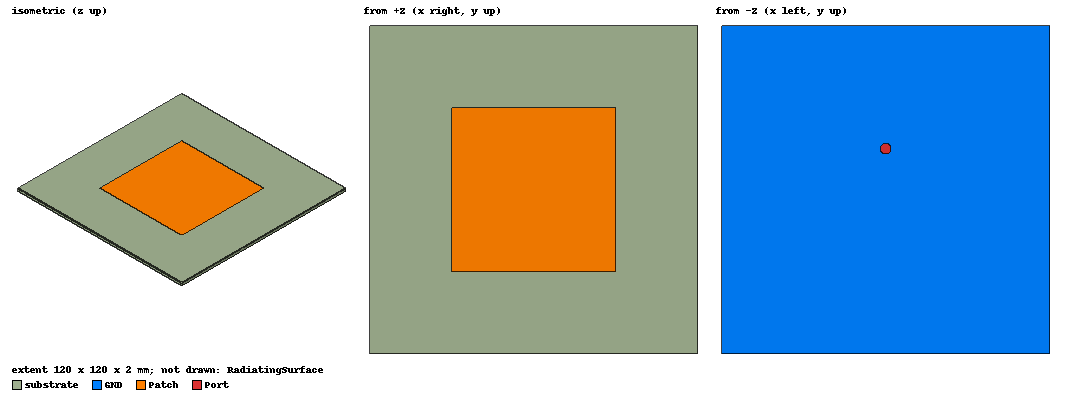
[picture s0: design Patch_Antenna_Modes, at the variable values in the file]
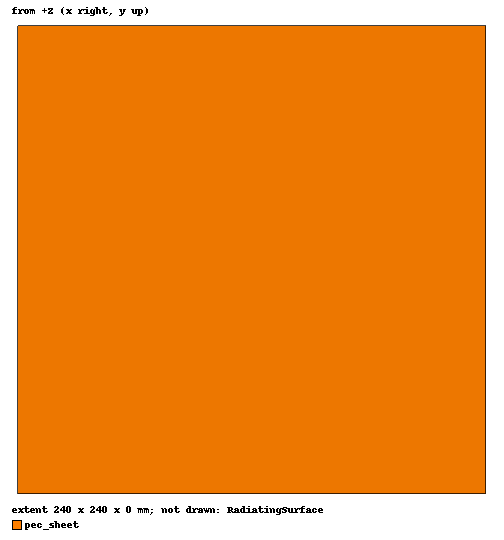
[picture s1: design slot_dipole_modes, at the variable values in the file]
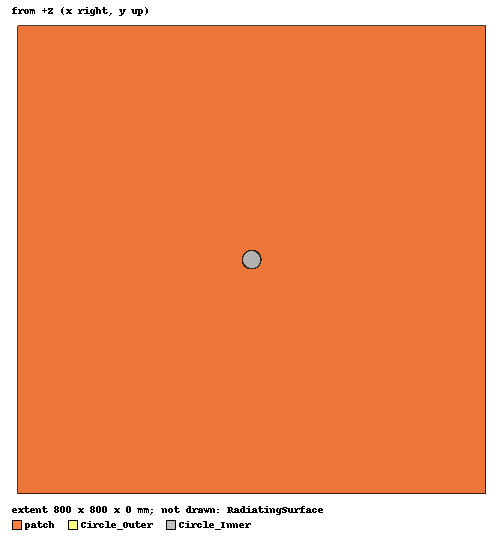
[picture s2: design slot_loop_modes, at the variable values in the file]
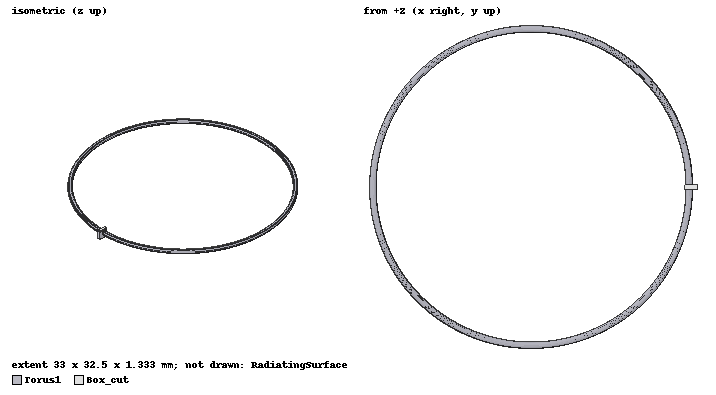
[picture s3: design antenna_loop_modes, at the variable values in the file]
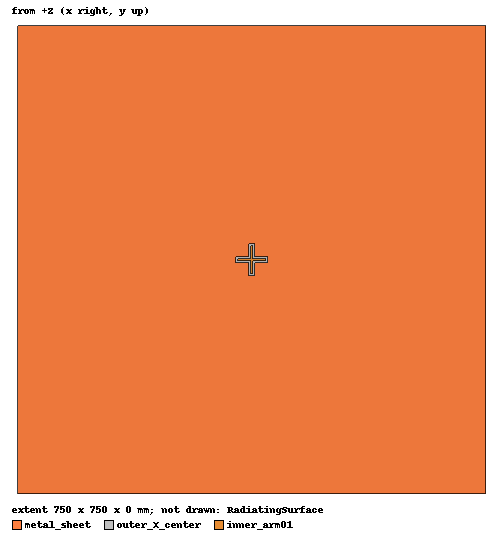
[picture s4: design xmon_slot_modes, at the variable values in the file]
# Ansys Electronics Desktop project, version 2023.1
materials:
  vacuum: permittivity=1
  Rogers RT/duroid 5880 (tm): permittivity=2.2 dielectric_loss_tangent=0.0009
  copper: permeability=0.999991 conductivity=58000000
  silicon: permittivity=11.9
  PMLGroup1_Z_1: permittivity{anisotropic component1=12.707862 component2=12.707862 component3=0.03934572} permeability{anisotropic component1=12.707862 component2=12.707862 component3=0.03934572} dielectric_loss_tangent{anisotropic component1=1 component2=1 component3=-1} magnetic_loss_tangent{anisotropic component1=1 component2=1 component3=-1}
  PMLGroup2_Z_1: permittivity{anisotropic component1=252.03927 component2=252.03927 component3=0.28092844} permeability{anisotropic component1=21.179771 component2=21.179771 component3=0.023607432} dielectric_loss_tangent{anisotropic component1=1 component2=1 component3=-1} magnetic_loss_tangent{anisotropic component1=1 component2=1 component3=-1}
  PMLGroup3_Z_1: permittivity{anisotropic component1=2.9952719 component2=2.9952719 component3=0.16692975} permeability{anisotropic component1=2.9952719 component2=2.9952719 component3=0.16692975} dielectric_loss_tangent{anisotropic component1=1 component2=1 component3=-1} magnetic_loss_tangent{anisotropic component1=1 component2=1 component3=-1}
  PMLGroup3_YZ_1: permittivity{anisotropic component1=0.01 component2=1 component3=1} permeability{anisotropic component1=0.01 component2=1 component3=1} dielectric_loss_tangent{anisotropic component1=1794.3307 component2=0 component3=0} magnetic_loss_tangent{anisotropic component1=1794.3307 component2=0 component3=0}
  PMLGroup4_Z_1: permittivity{anisotropic component1=2.6318845 component2=2.6318845 component3=0.18997794} permeability{anisotropic component1=2.6318845 component2=2.6318845 component3=0.18997794} dielectric_loss_tangent{anisotropic component1=1 component2=1 component3=-1} magnetic_loss_tangent{anisotropic component1=1 component2=1 component3=-1}
  PMLGroup4_XZ_1: permittivity{anisotropic component1=1 component2=0.01 component3=1} permeability{anisotropic component1=1 component2=0.01 component3=1} dielectric_loss_tangent{anisotropic component1=0 component2=1385.3632 component3=0} magnetic_loss_tangent{anisotropic component1=0 component2=1385.3632 component3=0}
  PMLGroup4_YZ_1: permittivity{anisotropic component1=0.01 component2=1 component3=1} permeability{anisotropic component1=0.01 component2=1 component3=1} dielectric_loss_tangent{anisotropic component1=1385.3632 component2=0 component3=0} magnetic_loss_tangent{anisotropic component1=1385.3632 component2=0 component3=0}
  PMLGroup4_XYZ_1: permittivity{anisotropic component1=2.6318845 component2=2.6318845 component3=2.6318845} permeability{anisotropic component1=2.6318845 component2=2.6318845 component3=2.6318845} dielectric_loss_tangent{anisotropic component1=1 component2=1 component3=1} magnetic_loss_tangent{anisotropic component1=1 component2=1 component3=1}
  PMLGroup5_Z_1: permittivity{anisotropic component1=32.916817 component2=32.916817 component3=2.1510281} permeability{anisotropic component1=2.7661191 component2=2.7661191 component3=0.18075867} dielectric_loss_tangent{anisotropic component1=1 component2=1 component3=-1} magnetic_loss_tangent{anisotropic component1=1 component2=1 component3=-1}
  PMLGroup5_YZ_1: permittivity{anisotropic component1=0.01 component2=141.61 component3=141.61} permeability{anisotropic component1=0.01 component2=1 component3=1} dielectric_loss_tangent{anisotropic component1=216703.37 component2=0 component3=0} magnetic_loss_tangent{anisotropic component1=1530.283 component2=0 component3=0}
  PMLGroup5_XZ_1: permittivity{anisotropic component1=141.61 component2=0.01 component3=141.61} permeability{anisotropic component1=1 component2=0.01 component3=1} dielectric_loss_tangent{anisotropic component1=0 component2=216703.37 component3=0} magnetic_loss_tangent{anisotropic component1=0 component2=1530.283 component3=0}
  PMLGroup5_XYZ_1: permittivity{anisotropic component1=4661.3505 component2=4661.3505 component3=4661.3505} permeability{anisotropic component1=2.7661191 component2=2.7661191 component3=2.7661191} dielectric_loss_tangent{anisotropic component1=1 component2=1 component3=1} magnetic_loss_tangent{anisotropic component1=1 component2=1 component3=1}
  mu6_eps1_medium: permeability=6
  PMLGroup6_Z_1: permittivity{anisotropic component1=2.2202018 component2=2.2202018 component3=0.22520476} permeability{anisotropic component1=13.321211 component2=13.321211 component3=1.3512285} dielectric_loss_tangent{anisotropic component1=1 component2=1 component3=-1} magnetic_loss_tangent{anisotropic component1=1 component2=1 component3=-1}
  PMLGroup6_XZ_1: permittivity{anisotropic component1=1 component2=0.01 component3=1} permeability{anisotropic component1=36 component2=0.01 component3=36} dielectric_loss_tangent{anisotropic component1=0 component2=985.85918 component3=0} magnetic_loss_tangent{anisotropic component1=0 component2=35490.93 component3=0}
  PMLGroup6_YZ_1: permittivity{anisotropic component1=0.01 component2=1 component3=1} permeability{anisotropic component1=0.01 component2=36 component3=36} dielectric_loss_tangent{anisotropic component1=985.85918 component2=0 component3=0} magnetic_loss_tangent{anisotropic component1=35490.93 component2=0 component3=0}
  PMLGroup7_Z_1: permittivity{anisotropic component1=2.2202018 component2=2.2202018 component3=0.22520476} permeability{anisotropic component1=13.321211 component2=13.321211 component3=1.3512285} dielectric_loss_tangent{anisotropic component1=1 component2=1 component3=-1} magnetic_loss_tangent{anisotropic component1=1 component2=1 component3=-1}
  PMLGroup7_XZ_1: permittivity{anisotropic component1=1 component2=0.01 component3=1} permeability{anisotropic component1=36 component2=0.01 component3=36} dielectric_loss_tangent{anisotropic component1=0 component2=985.85918 component3=0} magnetic_loss_tangent{anisotropic component1=0 component2=35490.93 component3=0}
  PMLGroup7_YZ_1: permittivity{anisotropic component1=0.01 component2=1 component3=1} permeability{anisotropic component1=0.01 component2=36 component3=36} dielectric_loss_tangent{anisotropic component1=985.85918 component2=0 component3=0} magnetic_loss_tangent{anisotropic component1=35490.93 component2=0 component3=0}
  PMLGroup7_XYZ_1: permittivity{anisotropic component1=2.2202018 component2=2.2202018 component3=2.2202018} permeability{anisotropic component1=479.56358 component2=479.56358 component3=479.56358} dielectric_loss_tangent{anisotropic component1=1 component2=1 component3=1} magnetic_loss_tangent{anisotropic component1=1 component2=1 component3=1}
  PMLGroup8_Z_1: permittivity{anisotropic component1=1.1 component2=1.1 component3=0.45454545} permeability{anisotropic component1=6.6 component2=6.6 component3=2.7272727} dielectric_loss_tangent{anisotropic component1=1 component2=1 component3=-1} magnetic_loss_tangent{anisotropic component1=1 component2=1 component3=-1}
  PMLGroup8_XZ_1: permittivity{anisotropic component1=1 component2=0.01 component3=1} permeability{anisotropic component1=36 component2=0.01 component3=36} dielectric_loss_tangent{anisotropic component1=0 component2=242 component3=0} magnetic_loss_tangent{anisotropic component1=0 component2=8712 component3=0}
  PMLGroup8_YZ_1: permittivity{anisotropic component1=0.01 component2=1 component3=1} permeability{anisotropic component1=0.01 component2=36 component3=36} dielectric_loss_tangent{anisotropic component1=242 component2=0 component3=0} magnetic_loss_tangent{anisotropic component1=8712 component2=0 component3=0}
  PMLGroup8_XYZ_1: permittivity{anisotropic component1=1.1 component2=1.1 component3=1.1} permeability{anisotropic component1=237.6 component2=237.6 component3=237.6} dielectric_loss_tangent{anisotropic component1=1 component2=1 component3=1} magnetic_loss_tangent{anisotropic component1=1 component2=1 component3=1}
  pec: conductivity=1e+30
  PMLGroup1_Z_2: permittivity{anisotropic component1=157.04063 component2=157.04063 component3=0.0031838895} permeability{anisotropic component1=157.04063 component2=157.04063 component3=0.0031838895} dielectric_loss_tangent{anisotropic component1=1 component2=1 component3=-1} magnetic_loss_tangent{anisotropic component1=1 component2=1 component3=-1}
  PMLGroup1_Z_3: permittivity{anisotropic component1=1.4717352 component2=1.4717352 component3=0.33973504} permeability{anisotropic component1=1.4717352 component2=1.4717352 component3=0.33973504} dielectric_loss_tangent{anisotropic component1=1 component2=1 component3=-1} magnetic_loss_tangent{anisotropic component1=1 component2=1 component3=-1}
  PMLGroup1_XZ_3: permittivity{anisotropic component1=1 component2=0.01 component3=1} permeability{anisotropic component1=1 component2=0.01 component3=1} dielectric_loss_tangent{anisotropic component1=0 component2=433.20088 component3=0} magnetic_loss_tangent{anisotropic component1=0 component2=433.20088 component3=0}
  PMLGroup1_YZ_3: permittivity{anisotropic component1=0.01 component2=1 component3=1} permeability{anisotropic component1=0.01 component2=1 component3=1} dielectric_loss_tangent{anisotropic component1=433.20088 component2=0 component3=0} magnetic_loss_tangent{anisotropic component1=433.20088 component2=0 component3=0}
  PMLGroup1_XYZ_3: permittivity{anisotropic component1=1.4717352 component2=1.4717352 component3=1.4717352} permeability{anisotropic component1=1.4717352 component2=1.4717352 component3=1.4717352} dielectric_loss_tangent{anisotropic component1=1 component2=1 component3=1} magnetic_loss_tangent{anisotropic component1=1 component2=1 component3=1}

design Patch_Antenna_Modes (HFSS, HFSS Modal Network, model units mm)
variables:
  Wg = 120mm
  h = 2mm
  W = 60mm
  Xf = 0mm
  Yf = 15mm
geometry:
  substrate [Rogers RT/duroid 5880 (tm)] = box(corner=(-Wg/2, -Wg/2, 0mm), size=(Wg, Wg, h))
  Patch = rectangle(corner=(-W/2, -W/2, h), x_size=W, y_size=W)
  feed [copper] = cylinder(axis=Z, base_centre=(Xf, Yf, 0), radius=0.6mm, height=h)
  GND = rectangle(corner=(-Wg/2, -Wg/2, 0mm), x_size=Wg, y_size=Wg)
  Port = ellipse(normal=Z, centre=(Xf, Yf, 0mm), major_radius=2mm, ratio=1)
  RadiatingSurface [vacuum] = region(absolute_offset: +X=100mm, -X=100mm, +Y=100mm, -Y=100mm, +Z=100mm, -Z=0)
  Port_1 = Port.copy()
  GND.subtract(Port_1)
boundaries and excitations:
  PerfE1: Perfect E Objects=GND
  PerfE2: Perfect E Objects=Patch
  Open1: Radiation Faces=RadiatingSurface.face(+z, -y, -x, +y, +x)
  Open_InfiniteGnd1: Perfect E Faces=RadiatingSurface.face(-z) InfGroundPlane
  1: Lumped Port Objects=Port LumpedPortType=Modal Modes{Mode1{IntLine{(0.0011197962, 15.000776, 0) -> (-600mm, 15000mm, 0mm)} CharImp=Zpi RenormImp=50ohm}} Impedance=50ohm
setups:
  Setup2: HfssDriven MultipleAdaptiveFreqsSetup{Low=1GHz High=6GHz} MaxDeltaS=0.02 MaximumPasses=12 MinimumPasses=1 MinimumConvergedPasses=1 PercentRefinement=30 BasisOrder=1 PortAccuracy=2 DrivenSolverType="Direct Solver"
    sweep Sweep: 1GHz to 6GHz, 501 points; Type=Fast SaveFields
    sweep Sweep1: 1GHz to 6GHz, 501 points; Type=Interpolating InterpTolerance=0.5 InterpMaxSolns=250 InterpUsePortImped=false PassivityErrorTolerance=0.0001
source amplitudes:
  1:1: 1V 0deg
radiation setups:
  3D: Infinite Sphere Theta=0deg..180deg step 2deg Phi=-180deg..180deg step 2deg
  Elevation: Infinite Sphere Theta=-180deg..180deg step 1deg Phi=0deg..90deg step 90deg
  Azimuth: Infinite Sphere Theta=90deg..90deg step 0deg Phi=-180deg..180deg step 1deg
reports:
  Z Parameter Plot 1: re(Z(1,1)), im(Z(1,1)) vs Freq on Setup2 : Sweep
  S Parameter Plot 1: dB(S(1,1)) vs Freq on Setup2 : Sweep

design slot_dipole_modes (HFSS, HFSS Modal Network, model units mm)
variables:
  lambda = 100mm
  dipole_length = 0.48*lambda
  ratio = 200
  dipole_width = dipole_length/ratio
  port_height = 0.24mm
  gap_height = 0.24mm
  patch_ratio = 5
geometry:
  dipole_slot = rectangle(corner=(-dipole_length/2, -dipole_width/2, 0mm), x_size=dipole_length, y_size=dipole_width)
  pec_sheet = rectangle(corner=(-patch_ratio*dipole_length/2, -patch_ratio*dipole_length/2, 0mm), x_size=patch_ratio*dipole_length, y_size=patch_ratio*dipole_length)
  pec_sheet.subtract(dipole_slot)
  port = rectangle(corner=(-gap_height/2, -dipole_width/2, 0mm), x_size=gap_height, y_size=dipole_width)
  RadiatingSurface [vacuum] = region(absolute_offset=33.333333mm on all sides)
  slot [non-model] = rectangle(corner=(-24mm, -0.12mm, 0mm), x_size=48mm, y_size=0.24mm)
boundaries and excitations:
  PerfE1: Perfect E Objects=pec_sheet
  Open1: Radiation Objects=RadiatingSurface
  1: Lumped Port Objects=port LumpedPortType=Modal Modes{Mode1{IntLine{(0, -0.12, 0) -> (0, 0.12, 0)} CharImp=Zpi}} Impedance=485.9ohm
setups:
  Setup1: HfssDriven Frequency=3GHz MaxDeltaS=0.02 MaximumPasses=20 MinimumPasses=1 MinimumConvergedPasses=1 PercentRefinement=30 BasisOrder=1 PortAccuracy=2 DrivenSolverType="Direct Solver"
    sweep Sweep: 2GHz to 20GHz, 401 points; Type=Interpolating SaveFields InterpTolerance=0.5 InterpMaxSolns=250 InterpUsePortImped=false PassivityErrorTolerance=0.0001
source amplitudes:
  1:1: 1W 0deg
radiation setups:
  3D: Infinite Sphere Theta=0deg..180deg step 2deg Phi=-180deg..180deg step 2deg
  Elevation: Infinite Sphere Theta=-180deg..180deg step 1deg Phi=0deg..90deg step 90deg
  Azimuth: Infinite Sphere Theta=90deg..90deg step 0deg Phi=-180deg..180deg step 1deg
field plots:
  Mag_E1: E Field over a plane on Setup1 : LastAdaptive at Freq=3GHz Phase=0deg
  Mag_E2: E Field over pec_sheet.face(at (0, 0, 0)) on Setup1 : LastAdaptive at Freq=3GHz Phase=0deg
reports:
  S Parameter Plot 1: dB(S(1,1)) vs Freq on Setup1 : Sweep; markers m1 at 2.99GHz, m2 at 9.155GHz, m3 at 15.185GHz
  Z Parameter Plot 1: re(Z(1,1)), im(Z(1,1)) vs Freq on Setup1 : Sweep; markers m1 at 2.97457GHz, m2 at 9.155GHz, m3 at 15.275GHz, m5 at 11.45GHz, m4 at 5.555GHz, m6 at 17.525GHz

design slot_loop_modes (HFSS, HFSS Modal Network, model units mm)
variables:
  patch_ratio = 8
  lambda = 100mm
  patch_side = patch_ratio * lambda
  radius_center = lambda/(2*pi)
  ratio_pw = 200
  loop_width = lambda/ratio_pw
  radius_outer = radius_center+loop_width/2
  radius_inner = radius_center-loop_width/2
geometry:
  Circle_Inner = circle(normal=Z, centre=(0mm, 0mm, 0mm), radius=radius_inner)
  port = rectangle(corner=(radius_inner-loop_width/2, -1mm, 0mm), x_size=loop_width*1.75, y_size=2mm)
  patch = rectangle(corner=(-patch_side/2, -patch_side/2, 0mm), x_size=patch_side, y_size=patch_side)
  Circle_Outer = circle(normal=Z, centre=(0mm, 0mm, 0mm), radius=radius_outer)
  Circle_Outer_1 = Circle_Outer.copy()
  patch.subtract(Circle_Outer_1)
  Circle_Inner_1 = Circle_Inner.copy()
  Circle_Outer.subtract(Circle_Inner_1)
  RadiatingSurface [vacuum] = region(absolute_offset=33.333333mm on all sides)
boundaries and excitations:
  PerfE1: Perfect E Objects=Circle_Inner
  PerfE2: Perfect E Objects=patch
  Open1: Radiation Objects=RadiatingSurface
  1: Lumped Port Objects=port LumpedPortType=Modal Modes{Mode1{IntLine{(15.415494, 0, 0) -> (16.290494, 0, 0)} CharImp=Zpi}} Impedance=275ohm
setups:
  Setup1: HfssDriven Frequency=3GHz MaxDeltaS=0.02 MaximumPasses=20 MinimumPasses=1 MinimumConvergedPasses=1 PercentRefinement=30 BasisOrder=1 PortAccuracy=2 DrivenSolverType="Direct Solver"
    sweep Sweep: 2GHz to 5GHz step 0.01GHz; Type=Interpolating InterpTolerance=0.5 InterpMaxSolns=250 InterpUsePortImped=false PassivityErrorTolerance=0.0001
  Setup2: HfssDriven Frequency=3.16GHz MaxDeltaS=0.02 MaximumPasses=12 MinimumPasses=1 MinimumConvergedPasses=1 PercentRefinement=30 BasisOrder=1 PortAccuracy=2 DrivenSolverType="Direct Solver"
    sweep Sweep: 1.58GHz to 20GHz, 401 points; Type=Interpolating InterpTolerance=0.5 InterpMaxSolns=250 InterpUsePortImped=false PassivityErrorTolerance=0.0001
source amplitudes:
  1:1: 1W 0deg
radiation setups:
  3D: Infinite Sphere Theta=0deg..180deg step 2deg Phi=-180deg..180deg step 2deg
  Elevation: Infinite Sphere Theta=-180deg..180deg step 1deg Phi=0deg..90deg step 90deg
  Azimuth: Infinite Sphere Theta=90deg..90deg step 0deg Phi=-180deg..180deg step 1deg
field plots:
  Vector_E1: E Field over Circle_Outer.face(at (0, 0, 0)) on Setup2 : LastAdaptive at Freq=3.16GHz Phase=0deg
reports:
  S Parameter Plot 1: dB(S(1,1)) vs Freq on Setup1 : Sweep; markers m1 at 3.21GHz
  Z Parameter Plot 1: re(Z(1,1)), im(Z(1,1)) vs Freq on Setup1 : Sweep; markers m1 at 3.18GHz, m2 at 3.21GHz, m3 at 4.54GHz, m4 at 4.54GHz
  S Parameter Plot 3: dB(S(1,1)) vs Freq on Setup2 : Sweep; markers m1 at 3.19175GHz, m2 at 6.2771GHz, m3 at 9.3164GHz, m4 at 12.3557GHz, m5 at 15.44105GHz, m6 at 18.48035GHz
  Z Parameter Plot 2: re(Z(1,1)), im(Z(1,1)) vs Freq on Setup2 : Sweep; markers m1 at 3.2134911GHz, m2 at 6.32315GHz, m3 at 6.32315GHz, m4 at 9.36245GHz, m5 at 12.40175GHz, m6 at 15.53315GHz, m7 at 3.19175GHz, m8 at 6.23105GHz, m9 at 9.27035GHz, m10 at 12.3557GHz, m11 at 15.44105GHz, m12 at 18.5264GHz, m13 at 18.4343GHz

design antenna_loop_modes (HFSS, HFSS Modal Network, model units mm)
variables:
  lambda = 100mm
  radius_center = lambda/(2*pi)
  ratio_pw = 300
  loop_width = lambda/ratio_pw
  radius_outer = radius_center+loop_width/2
  radius_inner = radius_center-loop_width/2
  gap = lambda/200
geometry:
  Torus1 [pec] = torus(axis=Z, centre=(0mm, 0mm, 0mm), major_radius=radius_center, minor_radius=loop_width)
  Box_cut [vacuum] = box(corner=(radius_outer-2*loop_width, -gap/2, -2*loop_width), size=(4*loop_width, gap, 4*loop_width))
  Box_cut_1 = Box_cut.copy()
  Torus1.subtract(Box_cut_1)
  lumped_port = rectangle(corner=(radius_center-loop_width, -gap/2-0.05mm, 0mm), x_size=2*loop_width, y_size=gap+0.1mm)
  RadiatingSurface [vacuum] = region(absolute_offset=30.30303mm on all sides)
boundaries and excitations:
  Open1: Radiation Objects=RadiatingSurface
  1: Lumped Port Objects=lumped_port LumpedPortType=Modal Modes{Mode1{IntLine{(15.915494, 0.3, 0) -> (15.915494, -0.3, 0)} CharImp=Zpi}} Impedance=150ohm
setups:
  Setup1: HfssDriven Frequency=3.3GHz MaxDeltaS=0.02 MaximumPasses=20 MinimumPasses=1 MinimumConvergedPasses=1 PercentRefinement=30 BasisOrder=1 PortAccuracy=2 DrivenSolverType="Direct Solver"
    sweep Sweep: 1.5GHz to 5.5GHz, 401 points; Type=Interpolating InterpTolerance=0.5 InterpMaxSolns=250 InterpUsePortImped=false PassivityErrorTolerance=0.0001
  Setup2: HfssDriven MultipleAdaptiveFreqsSetup{AdaptAt{Frequency=3.3GHz Delta=0.02} AdaptAt{Frequency=6.6GHz Delta=0.02} AdaptAt{Frequency=9.9GHz Delta=0.02} AdaptAt{Frequency=13.2GHz Delta=0.02} AdaptAt{Frequency=16.5GHz Delta=0.02} AdaptAt{Frequency=18.5GHz Delta=0.02}} MaximumPasses=20 MinimumPasses=1 MinimumConvergedPasses=1 PercentRefinement=30 BasisOrder=1 PortAccuracy=2 DrivenSolverType="Direct Solver"
    sweep Sweep: 1GHz to 20GHz, 501 points; Type=Interpolating SaveFields InterpTolerance=0.5 InterpMaxSolns=250 InterpUsePortImped=false PassivityErrorTolerance=0.0001
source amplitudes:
  1:1: 1W 0deg
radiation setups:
  3D: Infinite Sphere Theta=0deg..180deg step 2deg Phi=-180deg..180deg step 2deg
  Elevation: Infinite Sphere Theta=-180deg..180deg step 1deg Phi=0deg..90deg step 90deg
  Azimuth: Infinite Sphere Theta=90deg..90deg step 0deg Phi=-180deg..180deg step 1deg
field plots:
  Mag_E1: E Field in RadiatingSurface on Setup2 : Sweep at Freq=3.375GHz Phase=0deg
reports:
  Z Parameter Plot 1: re(Z(1,1)), im(Z(1,1)) vs Freq on Setup1 : Sweep; markers m1 at 3.29GHz, m2 at 3.29GHz
  S Parameter Plot 1: dB(S(1,1)) vs Freq on Setup1 : Sweep; markers m1 at 3.31GHz
  S Parameter Plot 2: dB(S(1,1)) vs Freq on Setup2 : Sweep; markers m1 at 3.28GHz, m2 at 6.396GHz, m3 at 9.512GHz, m4 at 12.59GHz, m5 at 15.668GHz, m6 at 18.708GHz
  Z Parameter Plot 3: re(Z(1,1)), im(Z(1,1)) vs Freq on Setup2 : Sweep; markers m1 at 3.28GHz, m2 at 6.396GHz, m3 at 9.588GHz, m4 at 12.628GHz, m5 at 4.306GHz, m6 at 7.27GHz, m7 at 10.234GHz, m8 at 13.274GHz

design xmon_slot_modes (HFSS, HFSS Modal Network, model units mm)
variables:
  ratio_ws = 1
  ratio_ls = 6.875
  width = 3mm
  gap = ratio_ws*width
  arm_length = ratio_ls*width
  lambda = 100mm
  side_sheet = 7.5*lambda
  port_width = 0.25*width
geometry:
  inner_arm01 = rectangle(corner=(width/2, -width/2, 0mm), x_size=arm_length, y_size=width)
  inner_center = rectangle(corner=(-width/2, -width/2, 0mm), x_size=width, y_size=width)
  inner_arm02, inner_arm03, inner_arm04 = inner_arm01.duplicate_around_axis(axis=Z, angle=90deg, total=4)
  inner_arm01.unite(inner_arm02, inner_arm03, inner_arm04, inner_center)
  outer_X_center = rectangle(corner=(-width/2-gap, -width/2-gap, 0mm), x_size=width+2*gap, y_size=width+2*gap)
  outer_X_arm = rectangle(corner=(width/2+gap, -width/2-gap, 0mm), x_size=arm_length, y_size=2*gap+width)
  outer_X_arm_1, outer_X_arm_2, outer_X_arm_3 = outer_X_arm.duplicate_around_axis(axis=Z, angle=90deg, total=4)
  outer_X_center.unite(outer_X_arm_3, outer_X_arm_2, outer_X_arm_1, outer_X_arm)
  metal_sheet = rectangle(corner=(-side_sheet/2, -side_sheet/2, 0mm), x_size=side_sheet, y_size=side_sheet)
  outer_X_center_1 = outer_X_center.copy()
  metal_sheet.subtract(outer_X_center_1)
  inner_arm01_1 = inner_arm01.copy()
  outer_X_center.subtract(inner_arm01_1)
  lumped_port = rectangle(corner=(width/2+arm_length, -port_width/2, 0mm), x_size=gap, y_size=port_width)
  RadiatingSurface [vacuum] = region(absolute_offset=50mm on all sides)
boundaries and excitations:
  PerfE1: Perfect E Objects=inner_arm01
  PerfE2: Perfect E Objects=metal_sheet
  Open1: Radiation Objects=RadiatingSurface
  1: Lumped Port Objects=lumped_port LumpedPortType=Modal Modes{Mode1{IntLine{(22.125, 0, 0) -> (25.125, 0, 0)} CharImp=Zpi}} Impedance=585ohm
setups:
  Setup1: HfssDriven Frequency=2GHz MaxDeltaS=0.02 MaximumPasses=20 MinimumPasses=1 MinimumConvergedPasses=1 PercentRefinement=30 BasisOrder=1 PortAccuracy=2 DrivenSolverType="Direct Solver"
    sweep Sweep: 1GHz to 10GHz, 901 points; Type=Interpolating SaveFields InterpTolerance=0.5 InterpMaxSolns=250 InterpUsePortImped=false PassivityErrorTolerance=0.0001
  Setup2: HfssDriven Frequency=1.5GHz MaxDeltaS=0.02 MaximumPasses=20 MinimumPasses=1 MinimumConvergedPasses=1 PercentRefinement=30 BasisOrder=1 PortAccuracy=2 DrivenSolverType="Direct Solver"
    sweep Sweep: 1GHz to 5GHz, 401 points; Type=Interpolating InterpTolerance=0.5 InterpMaxSolns=250 InterpUsePortImped=false PassivityErrorTolerance=0.0001
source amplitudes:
  1:1: 1W 0deg
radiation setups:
  3D: Infinite Sphere Theta=0deg..180deg step 2deg Phi=-180deg..180deg step 2deg
  Elevation: Infinite Sphere Theta=-180deg..180deg step 1deg Phi=0deg..90deg step 90deg
  Azimuth: Infinite Sphere Theta=90deg..90deg step 0deg Phi=-180deg..180deg step 1deg
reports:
  S Parameter Plot 1: dB(S(1,1)) vs Freq on Setup1 : Sweep; markers m1 at 2.11GHz, m2 at 4.075GHz, m3 at 7.045GHz, m4 at 8.995GHz
  Z Parameter Plot 1: re(Z(1,1)), im(Z(1,1)) vs Freq on Setup1 : Sweep; markers m1 at 2.11GHz, m2 at 2.08GHz, m3 at 2.575GHz, m4 at 3.4669394GHz, m5 at 4.09GHz, m7 at 7GHz, m8 at 8.92GHz
  S Parameter Plot 2: dB(S(1,1)) vs Freq on Setup2 : Sweep; markers m1 at 2.42GHz
  Z Parameter Plot 2: re(Z(1,1)), im(Z(1,1)) vs Freq on Setup2 : Sweep; markers m1 at 2.03GHz, m2 at 2.06GHz

design xmon_antenna_modes (HFSS, HFSS Modal Network, model units mm)
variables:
  ratio_ws = 1
  ratio_ls = 6.875
  width = 3mm
  gap = ratio_ws*width
  arm_length = ratio_ls*width
  lambda = 100mm
  side_sheet = 5*lambda
  port_width = ratio_port*width
  ratio_port = 0.25
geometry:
  X_in_center = rectangle(corner=(-width/2, -width/2, 0mm), x_size=width, y_size=width)
  X_in_arm = rectangle(corner=(width/2, -width/2, 0mm), x_size=arm_length, y_size=width)
  X_in_arm_1, X_in_arm_2, X_in_arm_3 = X_in_arm.duplicate_around_axis(axis=Z, angle=90deg, total=4)
  X_in_center.unite(X_in_arm, X_in_arm_1, X_in_arm_2, X_in_arm_3)
  X_out_center = rectangle(corner=(-width/2-gap, -width/2-gap, 0mm), x_size=width+2*gap, y_size=width+2*gap)
  X_out_arm = rectangle(corner=(width/2+gap, -width/2-gap, 0mm), x_size=arm_length, y_size=width+gap*2)
  X_out_arm_1, X_out_arm_2, X_out_arm_3 = X_out_arm.duplicate_around_axis(axis=Z, angle=90deg, total=4)
  X_out_arm_1.unite(X_out_arm_2, X_out_arm_3, X_out_center, X_out_arm)
  X_in_center_1 = X_in_center.copy()
  X_out_arm_1.subtract(X_in_center_1)
  port = rectangle(corner=(width/2+arm_length, -port_width/2, 0mm), x_size=gap, y_size=port_width)
  gap_1 = port.copy()
  X_out_arm_1.subtract(gap_1)
  RadiatingSurface [vacuum] = region(absolute_offset=75mm on all sides)
  coordinate_system FaceCS1 = face of RadiatingSurface: Origin=(100.125, -100.125, 75) FaceID=RadiatingSurface.face(+z) AxisPosn=(100.125, 100.125, 75) WhichAxis=X ZRotationAngle=0deg XOffset=0mm YOffset=0mm FaceNormal(0, 0, 1)
  PML_RadiatingSurface_1 [PMLGroup1_Z_3, oriented by FaceCS1] = sweep_along_normal(RadiatingSurface.face(+z), length=91.1461mm)
  coordinate_system FaceCS2 = face of RadiatingSurface: Origin=(100.125, -100.125, -75) FaceID=RadiatingSurface.face(-z) AxisPosn=(-100.125, -100.125, -75) WhichAxis=X ZRotationAngle=0deg XOffset=0mm YOffset=0mm FaceNormal(0, 0, -1)
  PML_RadiatingSurface_2 [PMLGroup1_Z_3, oriented by FaceCS2] = sweep_along_normal(RadiatingSurface.face(-z), length=91.1461mm)
  coordinate_system FaceCS3 = face of RadiatingSurface: Origin=(100.125, -100.125, 75) FaceID=RadiatingSurface.face(-y) AxisPosn=(-100.125, -100.125, 75) WhichAxis=X ZRotationAngle=0deg XOffset=0mm YOffset=0mm FaceNormal(0, -1, 0)
  PML_RadiatingSurface_3 [PMLGroup1_Z_3, oriented by FaceCS3] = sweep_along_normal(RadiatingSurface.face(-y), length=91.1461mm)
  coordinate_system FaceCS4 = face of RadiatingSurface: Origin=(-100.125, -100.125, 75) FaceID=RadiatingSurface.face(-x) AxisPosn=(-100.125, 100.125, 75) WhichAxis=X ZRotationAngle=0deg XOffset=0mm YOffset=0mm FaceNormal(-1, 0, 0)
  PML_RadiatingSurface_4 [PMLGroup1_Z_3, oriented by FaceCS4] = sweep_along_normal(RadiatingSurface.face(-x), length=91.1461mm)
  coordinate_system FaceCS5 = face of RadiatingSurface: Origin=(-100.125, 100.125, 75) FaceID=RadiatingSurface.face(+y) AxisPosn=(100.125, 100.125, 75) WhichAxis=X ZRotationAngle=0deg XOffset=0mm YOffset=0mm FaceNormal(0, 1, 0)
  PML_RadiatingSurface_5 [PMLGroup1_Z_3, oriented by FaceCS5] = sweep_along_normal(RadiatingSurface.face(+y), length=91.1461mm)
  coordinate_system FaceCS6 = face of RadiatingSurface: Origin=(100.125, 100.125, -75) FaceID=RadiatingSurface.face(+x) AxisPosn=(100.125, 100.125, 75) WhichAxis=X ZRotationAngle=0deg XOffset=0mm YOffset=0mm FaceNormal(1, 0, 0)
  PML_RadiatingSurface_6 [PMLGroup1_Z_3, oriented by FaceCS6] = sweep_along_normal(RadiatingSurface.face(+x), length=91.1461mm)
  PML_RadiatingSurface_7 [PMLGroup1_XZ_3, oriented by FaceCS1] = sweep_along_normal(PML_RadiatingSurface_1.face(at (0, -100.125, 120.573)), length=91.1461mm)
  PML_RadiatingSurface_8 [PMLGroup1_YZ_3, oriented by FaceCS4] = sweep_along_normal(PML_RadiatingSurface_1.face(at (-100.125, 0, 120.573)), length=91.1461mm)
  PML_RadiatingSurface_9 [PMLGroup1_YZ_3, oriented by FaceCS5] = sweep_along_normal(PML_RadiatingSurface_1.face(at (0, 100.125, 120.573)), length=91.1461mm)
  PML_RadiatingSurface_10 [PMLGroup1_YZ_3, oriented by FaceCS1] = sweep_along_normal(PML_RadiatingSurface_1.face(at (100.125, 0, 120.573)), length=91.1461mm)
  PML_RadiatingSurface_11 [PMLGroup1_YZ_3, oriented by FaceCS2] = sweep_along_normal(PML_RadiatingSurface_2.face(at (0, -100.125, -120.573)), length=91.1461mm)
  coordinate_system FaceCS7 = face of RadiatingSurface: Origin=(-100.125, -100.125, -75) FaceID=RadiatingSurface.face(-z) AxisPosn=(-100.125, 100.125, -75) WhichAxis=X ZRotationAngle=0deg XOffset=0mm YOffset=0mm FaceNormal(0, 0, -1)
  PML_RadiatingSurface_12 [PMLGroup1_YZ_3, oriented by FaceCS7] = sweep_along_normal(PML_RadiatingSurface_2.face(at (-100.125, 0, -120.573)), length=91.1461mm)
  coordinate_system FaceCS8 = face of RadiatingSurface: Origin=(-100.125, 100.125, -75) FaceID=RadiatingSurface.face(-z) AxisPosn=(100.125, 100.125, -75) WhichAxis=X ZRotationAngle=0deg XOffset=0mm YOffset=0mm FaceNormal(0, 0, -1)
  PML_RadiatingSurface_13 [PMLGroup1_YZ_3, oriented by FaceCS8] = sweep_along_normal(PML_RadiatingSurface_2.face(at (0, 100.125, -120.573)), length=91.1461mm)
  PML_RadiatingSurface_14 [PMLGroup1_XZ_3, oriented by FaceCS2] = sweep_along_normal(PML_RadiatingSurface_2.face(at (100.125, 0, -120.573)), length=91.1461mm)
  PML_RadiatingSurface_15 [PMLGroup1_XZ_3, oriented by FaceCS4] = sweep_along_normal(PML_RadiatingSurface_3.face(at (-100.125, -145.698, 0)), length=91.1461mm)
  PML_RadiatingSurface_16 [PMLGroup1_XZ_3, oriented by FaceCS3] = sweep_along_normal(PML_RadiatingSurface_3.face(at (100.125, -145.698, 0)), length=91.1461mm)
  PML_RadiatingSurface_17 [PMLGroup1_XZ_3, oriented by FaceCS5] = sweep_along_normal(PML_RadiatingSurface_4.face(at (-145.698, 100.125, 0)), length=91.1461mm)
  PML_RadiatingSurface_18 [PMLGroup1_YZ_3, oriented by FaceCS6] = sweep_along_normal(PML_RadiatingSurface_5.face(at (100.125, 145.698, 0)), length=91.1461mm)
  PML_RadiatingSurface_19 [PMLGroup1_XYZ_3, oriented by FaceCS4] = sweep_along_normal(PML_RadiatingSurface_7.face(at (-100.125, -145.698, 120.573)), length=91.1461mm)
  PML_RadiatingSurface_20 [PMLGroup1_XYZ_3, oriented by FaceCS1] = sweep_along_normal(PML_RadiatingSurface_7.face(at (100.125, -145.698, 120.573)), length=91.1461mm)
  PML_RadiatingSurface_21 [PMLGroup1_XYZ_3, oriented by FaceCS5] = sweep_along_normal(PML_RadiatingSurface_8.face(at (-145.698, 100.125, 120.573)), length=91.1461mm)
  coordinate_system FaceCS9 = face of RadiatingSurface: Origin=(100.125, 100.125, 75) FaceID=RadiatingSurface.face(+z) AxisPosn=(-100.125, 100.125, 75) WhichAxis=X ZRotationAngle=0deg XOffset=0mm YOffset=0mm FaceNormal(0, 0, 1)
  PML_RadiatingSurface_22 [PMLGroup1_XYZ_3, oriented by FaceCS9] = sweep_along_normal(PML_RadiatingSurface_9.face(at (100.125, 145.698, 120.573)), length=91.1461mm)
  PML_RadiatingSurface_23 [PMLGroup1_XYZ_3, oriented by FaceCS7] = sweep_along_normal(PML_RadiatingSurface_11.face(at (-100.125, -145.698, -120.573)), length=91.1461mm)
  PML_RadiatingSurface_24 [PMLGroup1_XYZ_3, oriented by FaceCS2] = sweep_along_normal(PML_RadiatingSurface_11.face(at (100.125, -145.698, -120.573)), length=91.1461mm)
  PML_RadiatingSurface_25 [PMLGroup1_XYZ_3, oriented by FaceCS8] = sweep_along_normal(PML_RadiatingSurface_12.face(at (-145.698, 100.125, -120.573)), length=91.1461mm)
  PML_RadiatingSurface_26 [PMLGroup1_XYZ_3, oriented by FaceCS6] = sweep_along_normal(PML_RadiatingSurface_13.face(at (100.125, 145.698, -120.573)), length=91.1461mm)
  group PMLGroup1 = PML_RadiatingSurface_1..PML_RadiatingSurface_26
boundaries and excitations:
  PerfE1: Perfect E Objects=X_out_arm_1
  PML_radiation1: Radiation Faces=RadiatingSurface.face(+z) IsForPML
  PML_radiation2: Radiation Faces=RadiatingSurface.face(-z) IsForPML
  PML_radiation3: Radiation Faces=RadiatingSurface.face(-y) IsForPML
  PML_radiation4: Radiation Faces=RadiatingSurface.face(-x) IsForPML
  PML_radiation5: Radiation Faces=RadiatingSurface.face(+y) IsForPML
  PML_radiation6: Radiation Faces=RadiatingSurface.face(+x) IsForPML
  1: Lumped Port Objects=port LumpedPortType=Default Modes{Mode1{IntLine{(23.625, -0.375, 0) -> (23.625, 0.375, 0)} CharImp=Zpi}} Impedance=50ohm
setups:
  Setup1: HfssDriven Frequency=2GHz MaxDeltaS=0.02 MaximumPasses=20 MinimumPasses=1 MinimumConvergedPasses=1 PercentRefinement=30 BasisOrder=1 PortAccuracy=2 DrivenSolverType="Direct Solver"
    sweep Sweep: 0.5GHz to 10.5GHz, 1001 points; Type=Interpolating SaveFields InterpTolerance=0.5 InterpMaxSolns=250 InterpUsePortImped=false PassivityErrorTolerance=0.0001
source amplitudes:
  1:1: 1W 0deg
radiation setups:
  3D: Infinite Sphere Theta=0deg..180deg step 2deg Phi=-180deg..180deg step 2deg
  Elevation: Infinite Sphere Theta=-180deg..180deg step 1deg Phi=0deg..90deg step 90deg
  Azimuth: Infinite Sphere Theta=90deg..90deg step 0deg Phi=-180deg..180deg step 1deg
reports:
  S Parameter Plot 1: dB(S(1,1)) vs Freq on Setup1 : Sweep; markers m1 at 2.13GHz, m2 at 3.87GHz
  Z Parameter Plot 1: re(Z(1,1)), im(Z(1,1)) vs Freq on Setup1 : Sweep; markers m1 at 0.93539308GHz
